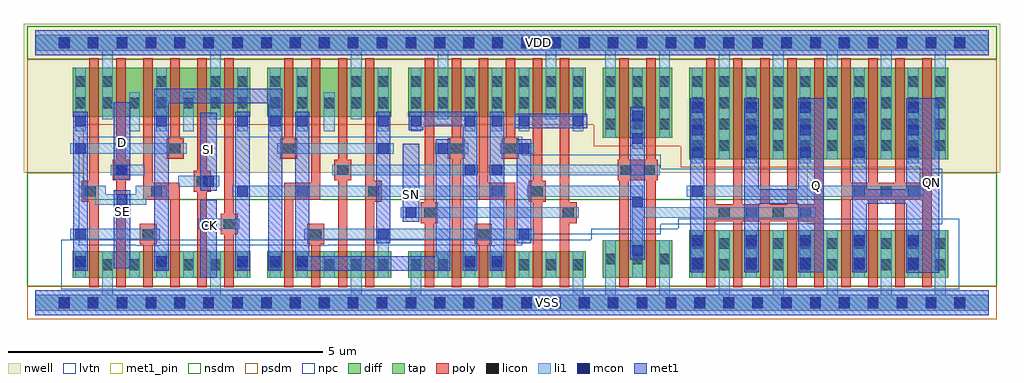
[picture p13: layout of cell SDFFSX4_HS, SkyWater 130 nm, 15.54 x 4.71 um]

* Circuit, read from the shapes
.subckt SDFFSX4_HS CK D Q QN SE SI SN VDD VSS
XM1 VSS SE n1 VSS sky130_fd_pr__nfet_01v8_lvt w=0.425 l=0.15
XM2 n2 D VSS VSS sky130_fd_pr__nfet_01v8_lvt w=0.425 l=0.15
XM3 n3 n1 n2 VSS sky130_fd_pr__nfet_01v8_lvt w=0.425 l=0.15
XM4 n4 SE n3 VSS sky130_fd_pr__nfet_01v8_lvt w=0.425 l=0.15
XM5 VSS SI n4 VSS sky130_fd_pr__nfet_01v8_lvt w=0.425 l=0.15
XM6 n5 CK VSS VSS sky130_fd_pr__nfet_01v8_lvt w=0.425 l=0.15
XM7 n6 n5 n3 VSS sky130_fd_pr__nfet_01v8_lvt w=0.425 l=0.15
XM8 n7 n8 n6 VSS sky130_fd_pr__nfet_01v8_lvt w=0.425 l=0.15
XM9 VSS n9 n7 VSS sky130_fd_pr__nfet_01v8_lvt w=0.425 l=0.15
XM10 n8 n5 VSS VSS sky130_fd_pr__nfet_01v8_lvt w=0.425 l=0.15
XM11 n10 SN VSS VSS sky130_fd_pr__nfet_01v8_lvt w=0.425 l=0.15
XM12 n9 n6 n10 VSS sky130_fd_pr__nfet_01v8_lvt w=0.425 l=0.15
XM13 n11 n8 n9 VSS sky130_fd_pr__nfet_01v8_lvt w=0.425 l=0.15
XM14 n12 n5 n11 VSS sky130_fd_pr__nfet_01v8_lvt w=0.425 l=0.15
XM15 n13 n14 n12 VSS sky130_fd_pr__nfet_01v8_lvt w=0.425 l=0.15
XM16 VSS SN n13 VSS sky130_fd_pr__nfet_01v8_lvt w=0.425 l=0.15
XM17 n14 n11 VSS VSS sky130_fd_pr__nfet_01v8_lvt w=0.6 l=0.15 m=2
XM18 VSS n14 n15 VSS sky130_fd_pr__nfet_01v8_lvt w=0.76 l=0.15
XM19 Q n14 VSS VSS sky130_fd_pr__nfet_01v8_lvt w=0.76 l=0.15 m=4
XM20 QN n15 VSS VSS sky130_fd_pr__nfet_01v8_lvt w=0.76 l=0.15 m=4
XM21 VDD SE n1 VDD sky130_fd_pr__pfet_01v8 w=0.78 l=0.15
XM22 n16 D VDD VDD sky130_fd_pr__pfet_01v8 w=0.78 l=0.15
XM23 n3 SE n16 VDD sky130_fd_pr__pfet_01v8 w=0.78 l=0.15
XM24 n17 n1 n3 VDD sky130_fd_pr__pfet_01v8 w=0.78 l=0.15
XM25 VDD SI n17 VDD sky130_fd_pr__pfet_01v8 w=0.78 l=0.15
XM26 n5 CK VDD VDD sky130_fd_pr__pfet_01v8 w=0.78 l=0.15
XM27 n6 n8 n3 VDD sky130_fd_pr__pfet_01v8 w=0.78 l=0.15
XM28 n18 n5 n6 VDD sky130_fd_pr__pfet_01v8 w=0.78 l=0.15
XM29 VDD n9 n18 VDD sky130_fd_pr__pfet_01v8 w=0.78 l=0.15
XM30 n8 n5 VDD VDD sky130_fd_pr__pfet_01v8 w=0.78 l=0.15
XM31 VDD SN n9 VDD sky130_fd_pr__pfet_01v8 w=0.78 l=0.15
XM32 n9 n6 VDD VDD sky130_fd_pr__pfet_01v8 w=0.78 l=0.15
XM33 n11 n5 n9 VDD sky130_fd_pr__pfet_01v8 w=0.78 l=0.15
XM34 n19 n8 n11 VDD sky130_fd_pr__pfet_01v8 w=0.78 l=0.15
XM35 VDD n14 n19 VDD sky130_fd_pr__pfet_01v8 w=0.78 l=0.15
XM36 n19 SN VDD VDD sky130_fd_pr__pfet_01v8 w=0.78 l=0.15
XM37 n14 n11 VDD VDD sky130_fd_pr__pfet_01v8 w=1.12 l=0.15 m=2
XM38 VDD n14 n15 VDD sky130_fd_pr__pfet_01v8 w=1.46 l=0.15
XM39 Q n14 VDD VDD sky130_fd_pr__pfet_01v8 w=1.46 l=0.15 m=4
XM40 QN n15 VDD VDD sky130_fd_pr__pfet_01v8 w=1.46 l=0.15 m=4
.ends

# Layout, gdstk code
from math import pi, radians
import gdstk
lib = gdstk.Library(unit=1e-6, precision=1e-09)
def R(c, l, rs):  # rectangles x0, y0, x1, y1
    for r in rs: c.add(gdstk.rectangle(r[:2], r[2:], *l))
def A(c, l, x, y, w, h, nx, ny, dx, dy):  # array of equal rectangles
    R(c, l, [(x+i*dx, y+j*dy, x+i*dx+w, y+j*dy+h) for i in range(nx) for j in range(ny)])
def P(c, l, *ps):  # polygons
    for p in ps: c.add(gdstk.Polygon(p, *l))
nwell = (64, 20)
diff = (65, 20)
tap = (65, 44)
poly = (66, 20)
licon = (66, 44)
li1 = (67, 20)
mcon = (67, 44)
met1_pin = (68, 16)
met1 = (68, 20)
nsdm = (93, 44)
psdm = (94, 20)
npc = (95, 20)
lvtn = (125, 44)

pyl1con_c_cdns_758729172 = lib.new_cell('PYL1CON_C_CDNS_758729172862')
R(pyl1con_c_cdns_758729172, poly, [(-0.135,-0.165,0.135,0.165)])
R(pyl1con_c_cdns_758729172, licon, [(-0.085,-0.085,0.085,0.085)])
R(pyl1con_c_cdns_758729172, npc, [(-0.185,-0.185,0.185,0.185)])

l1m1_c_cdns_758729172861 = lib.new_cell('L1M1_C_CDNS_7587291728613')
R(l1m1_c_cdns_758729172861, li1, [(-0.085,-0.525,0.085,0.525)])
A(l1m1_c_cdns_758729172861, mcon, -0.085, -0.445, 0.17, 0.17, 1, 3, 0, 0.36)
R(l1m1_c_cdns_758729172861, met1, [(-0.115,-0.505,0.115,0.505)])

c_l1m1_c_cdns_758729172861 = lib.new_cell('L1M1_C_CDNS_758729172861')
R(c_l1m1_c_cdns_758729172861, li1, [(-0.085,-0.165,0.085,0.165)])
R(c_l1m1_c_cdns_758729172861, mcon, [(-0.085,-0.085,0.085,0.085)])
R(c_l1m1_c_cdns_758729172861, met1, [(-0.115,-0.145,0.115,0.145)])

l1m1_c_cdns_758729172864 = lib.new_cell('L1M1_C_CDNS_758729172864')
R(l1m1_c_cdns_758729172864, li1, [(-0.085,-0.345,0.085,0.345)])
R(l1m1_c_cdns_758729172864, mcon, [(-0.085,-0.265,0.085,-0.095), (-0.085,0.095,0.085,0.265)])
R(l1m1_c_cdns_758729172864, met1, [(-0.115,-0.325,0.115,0.325)])

l1m1_c_cdns_758729172860 = lib.new_cell('L1M1_C_CDNS_758729172860')
R(l1m1_c_cdns_758729172860, li1, [(-0.165,-0.085,0.165,0.085)])
R(l1m1_c_cdns_758729172860, mcon, [(-0.085,-0.085,0.085,0.085)])
R(l1m1_c_cdns_758729172860, met1, [(-0.115,-0.145,0.115,0.145)])

l1m1_c_cdns_758729172862 = lib.new_cell('L1M1_C_CDNS_7587291728623')
R(l1m1_c_cdns_758729172862, li1, [(-0.085,-0.165,0.085,0.165)])
R(l1m1_c_cdns_758729172862, mcon, [(-0.085,-0.085,0.085,0.085)])
R(l1m1_c_cdns_758729172862, met1, [(-0.145,-0.085,0.145,0.085)])

licondiff_c_cdns_7587291 = lib.new_cell('LICONDIFF_C_CDNS_7587291728611')
R(licondiff_c_cdns_7587291, diff, [(-0.125,-0.145,0.125,0.145)])
R(licondiff_c_cdns_7587291, licon, [(-0.085,-0.085,0.085,0.085), (-0.085,-0.085,0.085,0.085)])

c_pyl1con_c_cdns_758729172 = lib.new_cell('PYL1CON_C_CDNS_7587291728618')
R(c_pyl1con_c_cdns_758729172, poly, [(-0.135,-0.29,0.135,0.29)])
R(c_pyl1con_c_cdns_758729172, licon, [(-0.085,-0.085,0.085,0.085)])
R(c_pyl1con_c_cdns_758729172, npc, [(-0.185,-0.185,0.185,0.185)])

c_l1m1_c_cdns_758729172862 = lib.new_cell('L1M1_C_CDNS_7587291728621')
R(c_l1m1_c_cdns_758729172862, li1, [(-0.125,-0.085,0.125,0.085)])
R(c_l1m1_c_cdns_758729172862, mcon, [(-0.085,-0.085,0.085,0.085)])
R(c_l1m1_c_cdns_758729172862, met1, [(-0.115,-0.145,0.115,0.145)])

c_pyl1con_c_cdns_758729172_ = lib.new_cell('PYL1CON_C_CDNS_7587291728622')
R(c_pyl1con_c_cdns_758729172_, poly, [(-0.135,-0.37,0.135,0.21)])
R(c_pyl1con_c_cdns_758729172_, licon, [(-0.085,-0.085,0.085,0.085)])
R(c_pyl1con_c_cdns_758729172_, npc, [(-0.185,-0.185,0.185,0.185)])

sdffsx4_hs = lib.new_cell('SDFFSX4_HS')
R(sdffsx4_hs, nwell, [(-0.18,2.07,15.36,4.445)])
R(sdffsx4_hs, diff, [(0.595,0.395,3.425,0.82), (3.695,0.395,5.665,0.82), (5.935,0.395,8.765,0.82), (9.035,0.395,10.145,0.995), (10.415,0.395,14.535,1.155), (10.415,2.285,14.535,3.745), (9.035,2.625,10.145,3.745), (0.595,2.965,3.425,3.745), (3.695,2.965,5.665,3.745), (5.935,2.965,8.765,3.745)])
A(sdffsx4_hs, poly, 1.72, 0.245, 0.15, 0.725, 3, 1, 2.67, 0)
A(sdffsx4_hs, poly, 10.68, 0.245, 0.15, 3.65, 9, 1, 0.43, 0)
R(sdffsx4_hs, poly, [(0.86,0.245,1.01,3.895), (1.29,0.245,1.44,3.895), (2.58,0.245,2.73,3.895), (3.01,0.245,3.16,3.895), (4.82,0.245,4.97,3.895), (5.25,0.245,5.4,3.895), (6.2,0.245,6.35,3.895), (6.63,0.245,6.78,3.895), (7.92,0.245,8.07,3.895), (8.35,0.245,8.5,3.895), (2.15,2.455,2.3,3.895), (3.96,2.455,4.11,3.895), (7.49,2.455,7.64,3.895)])
P(sdffsx4_hs, poly, [(2.3,1.85),(1.87,1.85),(1.87,3.895),(1.72,3.895),(1.72,1.7),(2.15,1.7),(2.15,0.245),(2.3,0.245)],
  [(4.54,3.895),(4.39,3.895),(4.39,1.85),(3.96,1.85),(3.96,0.245),(4.11,0.245),(4.11,1.7),(4.54,1.7)],
  [(7.64,1.85),(7.21,1.85),(7.21,3.895),(7.06,3.895),(7.06,1.7),(7.49,1.7),(7.49,0.245),(7.64,0.245)],
  [(9.91,2.28),(9.88,2.28),(9.88,3.895),(9.73,3.895),(9.73,2.28),(9.45,2.28),(9.45,3.895),(9.3,3.895),(9.3,2.28),(9.27,2.28),(9.27,1.95),(9.3,1.95),(9.3,0.245),(9.45,0.245),(9.45,1.95),(9.73,1.95),(9.73,0.245),(9.88,0.245),(9.88,1.95),(9.91,1.95)])
A(sdffsx4_hs, licon, 0.375, -0.085, 0.17, 0.17, 32, 2, 0.46, 4.14)
A(sdffsx4_hs, licon, 1.065, 0.52, 0.17, 0.17, 3, 2, 0.86, 2.58)
A(sdffsx4_hs, licon, 10.455, 0.52, 0.17, 0.17, 10, 2, 0.43, 0.34)
A(sdffsx4_hs, licon, 9.075, 0.61, 0.17, 0.17, 3, 2, 0.43, 2.15)
A(sdffsx4_hs, licon, 10.455, 2.42, 0.17, 0.17, 10, 4, 0.43, 0.34)
A(sdffsx4_hs, licon, 5.975, 3.1, 0.17, 0.17, 7, 2, 0.43, 0.34)
A(sdffsx4_hs, licon, 9.075, 3.1, 0.17, 0.17, 3, 2, 0.43, 0.34)
A(sdffsx4_hs, licon, 1.065, 3.44, 0.17, 0.17, 3, 1, 0.86, 0)
R(sdffsx4_hs, licon, [(0.635,0.52,0.805,0.69), (3.215,0.52,3.385,0.69), (3.735,0.52,3.905,0.69), (4.165,0.52,4.335,0.69), (5.025,0.52,5.195,0.69), (5.455,0.52,5.625,0.69), (5.975,0.52,6.145,0.69), (6.835,0.52,7.005,0.69), (7.265,0.52,7.435,0.69), (8.555,0.52,8.725,0.69), (0.635,3.1,0.805,3.27), (3.215,3.1,3.385,3.27), (3.735,3.1,3.905,3.27), (4.165,3.1,4.335,3.27), (5.025,3.1,5.195,3.27), (5.455,3.1,5.625,3.27), (0.635,3.44,0.805,3.61), (3.215,3.44,3.385,3.61), (3.735,3.44,3.905,3.61), (4.165,3.44,4.335,3.61), (5.025,3.44,5.195,3.61), (5.455,3.44,5.625,3.61)])
A(sdffsx4_hs, li1, 0.635, 0.395, 0.17, 0.425, 3, 1, 1.29, 0)
A(sdffsx4_hs, li1, 10.455, 0.395, 0.17, 0.76, 5, 1, 0.86, 0)
A(sdffsx4_hs, li1, 10.455, 2.285, 0.17, 1.46, 5, 1, 0.86, 0)
A(sdffsx4_hs, li1, 0.635, 2.965, 0.17, 0.78, 3, 1, 1.29, 0)
A(sdffsx4_hs, li1, 6.835, 2.965, 0.17, 0.78, 3, 1, 0.43, 0)
R(sdffsx4_hs, li1, [(3.735,0.395,3.905,0.82), (4.165,0.395,4.335,0.82), (6.835,0.395,7.005,0.82), (7.265,0.395,7.435,0.82), (9.505,2.625,9.675,3.745), (3.735,2.965,3.905,3.745), (4.165,2.965,4.335,3.745), (5.455,2.965,5.625,3.745), (5.975,2.965,6.145,3.745), (8.555,2.965,8.725,3.745)])
P(sdffsx4_hs, li1, [(2.095,1.86),(1.6,1.86),(1.6,1.73),(1.12,1.73),(1.12,1.86),(0.69,1.86),(0.69,1.69),(0.95,1.69),(0.95,1.56),(1.77,1.56),(1.77,1.69),(2.095,1.69)],
  [(7.945,1.18),(4.28,1.18),(4.28,1.01),(5.455,1.01),(5.455,0.395),(5.625,0.395),(5.625,1.01),(7.945,1.01)],
  [(12.425,1.52),(9.675,1.52),(9.675,1.86),(7.83,1.86),(7.83,1.69),(9.505,1.69),(9.505,0.395),(9.675,0.395),(9.675,1.35),(12.425,1.35)],
  [(15.18,4.265),(0,4.265),(0,4.015),(1.065,4.015),(1.065,2.925),(1.235,2.925),(1.235,4.015),(2.785,4.015),(2.785,2.925),(2.955,2.925),(2.955,4.015),(5.025,4.015),(5.025,2.925),(5.195,2.925),(5.195,4.015),(6.405,4.015),(6.405,2.925),(6.575,2.925),(6.575,4.015),(8.125,4.015),(8.125,2.925),(8.295,2.925),(8.295,4.015),(9.075,4.015),(9.075,2.625),(9.245,2.625),(9.245,4.015),(9.935,4.015),(9.935,2.625),(10.105,2.625),(10.105,4.015),(10.885,4.015),(10.885,2.285),(11.055,2.285),(11.055,4.015),(11.745,4.015),(11.745,2.285),(11.915,2.285),(11.915,4.015),(12.605,4.015),(12.605,2.285),(12.775,2.285),(12.775,4.015),(13.465,4.015),(13.465,2.285),(13.635,2.285),(13.635,4.015),(14.325,4.015),(14.325,2.285),(14.495,2.285),(14.495,4.015),(15.18,4.015)],
  [(15.18,0.125),(14.495,0.125),(14.495,1.155),(14.325,1.155),(14.325,0.125),(13.635,0.125),(13.635,1.155),(13.465,1.155),(13.465,0.125),(12.775,0.125),(12.775,1.155),(12.605,1.155),(12.605,0.125),(11.915,0.125),(11.915,1.155),(11.745,1.155),(11.745,0.125),(11.055,0.125),(11.055,1.155),(10.885,1.155),(10.885,0.125),(10.105,0.125),(10.105,0.995),(9.935,0.995),(9.935,0.125),(9.245,0.125),(9.245,0.995),(9.075,0.995),(9.075,0.125),(8.725,0.125),(8.725,0.82),(8.555,0.82),(8.555,0.125),(6.145,0.125),(6.145,0.82),(5.975,0.82),(5.975,0.125),(5.195,0.125),(5.195,0.82),(5.025,0.82),(5.025,0.125),(2.955,0.125),(2.955,0.82),(2.785,0.82),(2.785,0.125),(1.235,0.125),(1.235,0.82),(1.065,0.82),(1.065,0.125),(0,0.125),(0,-0.125),(15.18,-0.125)])
A(sdffsx4_hs, mcon, 0.375, -0.085, 0.17, 0.17, 32, 2, 0.46, 4.14)
R(sdffsx4_hs, met1_pin, [(2.63,0.4,2.89,1.64), (1.25,0.55,1.51,1.79), (12.29,1.27,12.55,2.51), (5.85,1.29,6.11,2.53), (14.13,1.32,14.39,2.56), (2.63,1.785,2.89,3.025), (1.25,1.955,1.51,3.195)])
P(sdffsx4_hs, met1, [(12.55,3.255),(12.145,3.255),(12.145,1.805),(11.515,1.805),(11.515,3.255),(11.285,3.255),(11.285,0.485),(11.515,0.485),(11.515,1.575),(12.145,1.575),(12.145,0.485),(12.55,0.485)],
  [(14.39,3.255),(13.865,3.255),(13.865,1.805),(13.235,1.805),(13.235,3.255),(13.005,3.255),(13.005,0.485),(13.235,0.485),(13.235,1.575),(13.865,1.575),(13.865,0.48),(14.39,0.48)])
R(sdffsx4_hs, nsdm, [(-0.125,3.875,15.305,4.405)])
P(sdffsx4_hs, nsdm, [(15.305,2.07),(14.085,2.07),(14.085,1.65),(0.77,1.65),(0.77,2.07),(-0.125,2.07),(-0.125,0.265),(15.305,0.265)])
R(sdffsx4_hs, psdm, [(-0.125,-0.265,15.305,0.265)])
P(sdffsx4_hs, psdm, [(15.305,3.875),(-0.125,3.875),(-0.125,2.07),(0.77,2.07),(0.77,2.835),(8.895,2.835),(8.895,2.495),(10.275,2.495),(10.275,2.155),(14.085,2.155),(14.085,2.07),(15.305,2.07)])
P(sdffsx4_hs, npc, [(14.44,2.13),(9.96,2.13),(9.96,2.355),(7.75,2.355),(7.75,2.64),(0.69,2.64),(0.69,0.915),(7.75,0.915),(7.75,1.09),(9.96,1.09),(9.96,1.25),(14.44,1.25)])
P(sdffsx4_hs, lvtn, [(14.715,1.335),(10.235,1.335),(10.235,1.175),(8.855,1.175),(8.855,1),(0.415,1),(0.415,0.215),(14.715,0.215)])
sdffsx4_hs.add(gdstk.FlexPath([(6.365,2.455),(6.89,2.455)], 0.17, ends="flush", simple_path=True, layer=67, datatype=20))  # li1
sdffsx4_hs.add(gdstk.FlexPath([(3.85,2.455),(5.705,2.455)], 0.17, ends="flush", simple_path=True, layer=67, datatype=20))  # li1
sdffsx4_hs.add(gdstk.FlexPath([(7.4,2.455),(7.945,2.455)], 0.17, ends="flush", simple_path=True, layer=67, datatype=20))  # li1
sdffsx4_hs.add(gdstk.FlexPath([(0.555,1.095),(1.98,1.095)], 0.17, ends="flush", simple_path=True, layer=67, datatype=20))  # li1
sdffsx4_hs.add(gdstk.FlexPath([(4.68,2.73),(4.68,3.355)], 0.17, ends="flush", simple_path=True, layer=67, datatype=20))  # li1
sdffsx4_hs.add(gdstk.FlexPath([(4.68,0.395),(4.68,0.82)], 0.17, ends="flush", simple_path=True, layer=67, datatype=20))  # li1
sdffsx4_hs.add(gdstk.FlexPath([(8.21,0.395),(8.21,0.82)], 0.17, ends="flush", simple_path=True, layer=67, datatype=20))  # li1
sdffsx4_hs.add(gdstk.FlexPath([(7.78,0.395),(7.78,0.82)], 0.17, ends="flush", simple_path=True, layer=67, datatype=20))  # li1
sdffsx4_hs.add(gdstk.FlexPath([(2.82,1.935),(2.275,1.935)], 0.17, ends="flush", simple_path=True, layer=67, datatype=20))  # li1
sdffsx4_hs.add(gdstk.FlexPath([(3.25,1.255),(2.705,1.255)], 0.17, ends="flush", simple_path=True, layer=67, datatype=20))  # li1
sdffsx4_hs.add(gdstk.FlexPath([(3.135,1.775),(7.515,1.775)], 0.17, ends="flush", simple_path=True, layer=67, datatype=20))  # li1
sdffsx4_hs.add(gdstk.FlexPath([(6.49,0.395),(6.49,0.82)], 0.17, ends="flush", simple_path=True, layer=67, datatype=20))  # li1
sdffsx4_hs.add(gdstk.FlexPath([(7.225,2.115),(9.94,2.115)], 0.17, ends="flush", simple_path=True, layer=67, datatype=20))  # li1
sdffsx4_hs.add(gdstk.FlexPath([(0.555,2.455),(2.41,2.455)], 0.17, ends="flush", simple_path=True, layer=67, datatype=20))  # li1
sdffsx4_hs.add(gdstk.FlexPath([(1.58,2.73),(1.58,3.355)], 0.17, ends="flush", simple_path=True, layer=67, datatype=20))  # li1
sdffsx4_hs.add(gdstk.FlexPath([(2.44,2.73),(2.44,3.355)], 0.17, ends="flush", simple_path=True, layer=67, datatype=20))  # li1
sdffsx4_hs.add(gdstk.FlexPath([(5.895,1.435),(8.65,1.435)], 0.17, ends="flush", simple_path=True, layer=67, datatype=20))  # li1
sdffsx4_hs.add(gdstk.FlexPath([(10.54,1.775),(14.145,1.775)], 0.17, ends="flush", simple_path=True, layer=67, datatype=20))  # li1
sdffsx4_hs.add(gdstk.FlexPath([(1.58,0.395),(1.58,0.82)], 0.17, ends="flush", simple_path=True, layer=67, datatype=20))  # li1
sdffsx4_hs.add(gdstk.FlexPath([(2.44,0.395),(2.44,0.82)], 0.17, ends="flush", simple_path=True, layer=67, datatype=20))  # li1
sdffsx4_hs.add(gdstk.FlexPath([(1.745,2.115),(1.2,2.115)], 0.17, ends="flush", simple_path=True, layer=67, datatype=20))  # li1
sdffsx4_hs.add(gdstk.FlexPath([(7.045,2.115),(4.73,2.115)], 0.17, ends="flush", simple_path=True, layer=67, datatype=20))  # li1
sdffsx4_hs.add(gdstk.FlexPath([(0,4.14),(15.18,4.14)], 0.4, ends="flush", simple_path=True, layer=68, datatype=20))  # met1
sdffsx4_hs.add(gdstk.FlexPath([(0,0),(15.18,0)], 0.4, ends="flush", simple_path=True, layer=68, datatype=20))  # met1
sdffsx4_hs.add(gdstk.FlexPath([(7.78,0.95),(7.78,2.6)], 0.23, ends="flush", simple_path=True, layer=68, datatype=20))  # met1
sdffsx4_hs.add(gdstk.FlexPath([(2.01,0.51),(2.01,3.295),(3.82,3.295),(3.82,0.51)], 0.23, ends="flush", simple_path=True, layer=68, datatype=20))  # met1
sdffsx4_hs.add(gdstk.FlexPath([(6.49,2.6),(6.49,0.625),(4.25,0.625),(4.25,3.04)], 0.23, ends="flush", simple_path=True, layer=68, datatype=20))  # met1
sdffsx4_hs.add(gdstk.FlexPath([(0.72,0.51),(0.72,3.04)], 0.23, ends="flush", simple_path=True, layer=68, datatype=20))  # met1
sdffsx4_hs.add(gdstk.FlexPath([(5.54,0.95),(5.54,3.04)], 0.23, ends="flush", simple_path=True, layer=68, datatype=20))  # met1
sdffsx4_hs.add(gdstk.FlexPath([(3.3,0.51),(3.3,3.04)], 0.23, ends="flush", simple_path=True, layer=68, datatype=20))  # met1
sdffsx4_hs.add(gdstk.FlexPath([(5.98,1.29),(5.98,2.53)], 0.26, ends="flush", simple_path=True, layer=68, datatype=20))  # met1
sdffsx4_hs.add(gdstk.FlexPath([(2.76,0.4),(2.76,1.64)], 0.26, ends="flush", simple_path=True, layer=68, datatype=20))  # met1
sdffsx4_hs.add(gdstk.FlexPath([(2.76,1.785),(2.76,3.025)], 0.26, ends="flush", simple_path=True, layer=68, datatype=20))  # met1
sdffsx4_hs.add(gdstk.FlexPath([(1.38,1.955),(1.38,3.195)], 0.26, ends="flush", simple_path=True, layer=68, datatype=20))  # met1
sdffsx4_hs.add(gdstk.FlexPath([(10.54,0.485),(10.54,3.255)], 0.23, ends="flush", simple_path=True, layer=68, datatype=20))  # met1
sdffsx4_hs.add(gdstk.FlexPath([(5.945,2.925),(6.92,2.925),(6.92,0.51)], 0.23, ends="flush", simple_path=True, layer=68, datatype=20))  # met1
sdffsx4_hs.add(gdstk.FlexPath([(9.59,0.685),(9.59,3.12)], 0.23, ends="flush", simple_path=True, layer=68, datatype=20))  # met1
sdffsx4_hs.add(gdstk.FlexPath([(7.635,2.895),(8.785,2.895)], 0.23, ends="flush", simple_path=True, layer=68, datatype=20))  # met1
sdffsx4_hs.add(gdstk.FlexPath([(1.38,0.55),(1.38,1.79)], 0.26, ends="flush", simple_path=True, layer=68, datatype=20))  # met1
sdffsx4_hs.add(gdstk.FlexPath([(7.35,0.51),(7.35,3.04)], 0.23, ends="flush", simple_path=True, layer=68, datatype=20))  # met1
sdffsx4_hs.add(gdstk.FlexPath([(0,4.14),(15.18,4.14)], 0.4, ends="flush", simple_path=True, layer=68, datatype=16))  # met1_pin
sdffsx4_hs.add(gdstk.FlexPath([(0,0),(15.18,0)], 0.4, ends="flush", simple_path=True, layer=68, datatype=16))  # met1_pin
sdffsx4_hs.add(gdstk.FlexPath([(0,4.14),(15.18,4.14)], 0.25, ends="flush", simple_path=True, layer=65, datatype=44))  # tap
sdffsx4_hs.add(gdstk.FlexPath([(0,0),(15.18,0)], 0.25, ends="flush", simple_path=True, layer=65, datatype=44))  # tap
sdffsx4_hs.add(gdstk.Reference(pyl1con_c_cdns_758729172, (6.705,2.455), rotation=pi))
sdffsx4_hs.add(gdstk.Reference(pyl1con_c_cdns_758729172, (4.895,2.115)))
sdffsx4_hs.add(gdstk.Reference(pyl1con_c_cdns_758729172, (6.275,1.435)))
sdffsx4_hs.add(gdstk.Reference(pyl1con_c_cdns_758729172, (5.385,1.775), rotation=pi))
sdffsx4_hs.add(gdstk.Reference(pyl1con_c_cdns_758729172, (3.085,1.255), x_reflection=True))
sdffsx4_hs.add(gdstk.Reference(pyl1con_c_cdns_758729172, (2.655,1.935), x_reflection=True))
sdffsx4_hs.add(gdstk.Reference(pyl1con_c_cdns_758729172, (2.225,2.455), rotation=pi))
sdffsx4_hs.add(gdstk.Reference(pyl1con_c_cdns_758729172, (1.795,1.095), x_reflection=True))
sdffsx4_hs.add(gdstk.Reference(pyl1con_c_cdns_758729172, (4.465,1.095), rotation=pi))
sdffsx4_hs.add(gdstk.Reference(pyl1con_c_cdns_758729172, (4.035,2.455), x_reflection=True))
sdffsx4_hs.add(gdstk.Reference(pyl1con_c_cdns_758729172, (7.565,2.455), rotation=pi))
sdffsx4_hs.add(gdstk.Reference(pyl1con_c_cdns_758729172, (7.135,1.095), x_reflection=True))
sdffsx4_hs.add(gdstk.Reference(pyl1con_c_cdns_758729172, (13.12,1.775), rotation=3*pi/2, x_reflection=True))
sdffsx4_hs.add(gdstk.Reference(pyl1con_c_cdns_758729172, (13.55,1.775), rotation=3*pi/2, x_reflection=True))
sdffsx4_hs.add(gdstk.Reference(pyl1con_c_cdns_758729172, (12.26,1.435), rotation=3*pi/2, x_reflection=True))
sdffsx4_hs.add(gdstk.Reference(pyl1con_c_cdns_758729172, (11.83,1.435), rotation=3*pi/2, x_reflection=True))
sdffsx4_hs.add(gdstk.Reference(pyl1con_c_cdns_758729172, (11.4,1.435), rotation=3*pi/2, x_reflection=True))
sdffsx4_hs.add(gdstk.Reference(pyl1con_c_cdns_758729172, (8.485,1.435)))
sdffsx4_hs.add(gdstk.Reference(pyl1con_c_cdns_758729172, (7.995,1.775)))
sdffsx4_hs.add(gdstk.Reference(pyl1con_c_cdns_758729172, (13.98,1.775), rotation=3*pi/2, x_reflection=True))
sdffsx4_hs.add(gdstk.Reference(pyl1con_c_cdns_758729172, (0.875,1.775)))
sdffsx4_hs.add(gdstk.Reference(pyl1con_c_cdns_758729172, (9.775,2.115), rotation=pi, x_reflection=True))
sdffsx4_hs.add(gdstk.Reference(pyl1con_c_cdns_758729172, (9.405,2.115), rotation=pi, x_reflection=True))
sdffsx4_hs.add(gdstk.Reference(pyl1con_c_cdns_758729172, (1.365,2.115)))
sdffsx4_hs.add(gdstk.Reference(pyl1con_c_cdns_758729172, (10.97,1.435), rotation=3*pi/2, x_reflection=True))
sdffsx4_hs.add(gdstk.Reference(l1m1_c_cdns_758729172861, (13.12,2.75)))
sdffsx4_hs.add(gdstk.Reference(l1m1_c_cdns_758729172861, (13.98,2.75)))
sdffsx4_hs.add(gdstk.Reference(l1m1_c_cdns_758729172861, (10.54,2.75)))
sdffsx4_hs.add(gdstk.Reference(l1m1_c_cdns_758729172861, (12.26,2.75)))
sdffsx4_hs.add(gdstk.Reference(l1m1_c_cdns_758729172861, (11.4,2.75)))
sdffsx4_hs.add(gdstk.Reference(c_l1m1_c_cdns_758729172861, (3.82,2.895)))
sdffsx4_hs.add(gdstk.Reference(c_l1m1_c_cdns_758729172861, (3.82,0.655)))
sdffsx4_hs.add(gdstk.Reference(c_l1m1_c_cdns_758729172861, (2.01,2.895)))
sdffsx4_hs.add(gdstk.Reference(c_l1m1_c_cdns_758729172861, (2.01,0.655)))
sdffsx4_hs.add(gdstk.Reference(c_l1m1_c_cdns_758729172861, (0.72,2.895)))
sdffsx4_hs.add(gdstk.Reference(c_l1m1_c_cdns_758729172861, (0.72,0.655)))
sdffsx4_hs.add(gdstk.Reference(c_l1m1_c_cdns_758729172861, (6.06,2.895)))
sdffsx4_hs.add(gdstk.Reference(c_l1m1_c_cdns_758729172861, (5.54,2.895), rotation=pi, x_reflection=True))
sdffsx4_hs.add(gdstk.Reference(c_l1m1_c_cdns_758729172861, (3.3,0.655)))
sdffsx4_hs.add(gdstk.Reference(c_l1m1_c_cdns_758729172861, (3.3,2.895)))
sdffsx4_hs.add(gdstk.Reference(c_l1m1_c_cdns_758729172861, (4.25,2.895)))
sdffsx4_hs.add(gdstk.Reference(c_l1m1_c_cdns_758729172861, (4.25,0.655)))
sdffsx4_hs.add(gdstk.Reference(c_l1m1_c_cdns_758729172861, (6.92,0.655)))
sdffsx4_hs.add(gdstk.Reference(c_l1m1_c_cdns_758729172861, (6.92,2.895)))
sdffsx4_hs.add(gdstk.Reference(c_l1m1_c_cdns_758729172861, (9.59,1.605)))
sdffsx4_hs.add(gdstk.Reference(c_l1m1_c_cdns_758729172861, (7.35,2.895)))
sdffsx4_hs.add(gdstk.Reference(c_l1m1_c_cdns_758729172861, (7.35,0.655)))
sdffsx4_hs.add(gdstk.Reference(c_l1m1_c_cdns_758729172861, (9.59,0.83), rotation=pi, x_reflection=True))
sdffsx4_hs.add(gdstk.Reference(l1m1_c_cdns_758729172864, (9.59,2.795), rotation=pi, x_reflection=True))
sdffsx4_hs.add(gdstk.Reference(l1m1_c_cdns_758729172864, (13.12,0.81)))
sdffsx4_hs.add(gdstk.Reference(l1m1_c_cdns_758729172864, (13.98,0.81)))
sdffsx4_hs.add(gdstk.Reference(l1m1_c_cdns_758729172864, (12.26,0.81)))
sdffsx4_hs.add(gdstk.Reference(l1m1_c_cdns_758729172864, (11.4,0.81)))
sdffsx4_hs.add(gdstk.Reference(l1m1_c_cdns_758729172864, (10.54,0.81)))
sdffsx4_hs.add(gdstk.Reference(l1m1_c_cdns_758729172860, (7.78,2.455)))
sdffsx4_hs.add(gdstk.Reference(l1m1_c_cdns_758729172860, (7.78,1.095)))
sdffsx4_hs.add(gdstk.Reference(l1m1_c_cdns_758729172860, (2.76,1.255), x_reflection=True))
sdffsx4_hs.add(gdstk.Reference(l1m1_c_cdns_758729172860, (2.76,1.935), x_reflection=True))
sdffsx4_hs.add(gdstk.Reference(l1m1_c_cdns_758729172860, (3.3,1.775)))
sdffsx4_hs.add(gdstk.Reference(l1m1_c_cdns_758729172860, (5.54,2.455), rotation=pi, x_reflection=True))
sdffsx4_hs.add(gdstk.Reference(l1m1_c_cdns_758729172860, (5.54,1.095), rotation=pi, x_reflection=True))
sdffsx4_hs.add(gdstk.Reference(l1m1_c_cdns_758729172860, (5.98,1.435), x_reflection=True))
sdffsx4_hs.add(gdstk.Reference(l1m1_c_cdns_758729172860, (1.38,2.115), x_reflection=True))
sdffsx4_hs.add(gdstk.Reference(l1m1_c_cdns_758729172860, (10.54,1.775)))
sdffsx4_hs.add(gdstk.Reference(l1m1_c_cdns_758729172860, (0.72,1.095)))
sdffsx4_hs.add(gdstk.Reference(l1m1_c_cdns_758729172860, (0.72,2.455)))
sdffsx4_hs.add(gdstk.Reference(l1m1_c_cdns_758729172860, (1.38,1.645), x_reflection=True))
sdffsx4_hs.add(gdstk.Reference(l1m1_c_cdns_758729172862, (7.78,2.895)))
sdffsx4_hs.add(gdstk.Reference(l1m1_c_cdns_758729172862, (8.64,2.895)))
sdffsx4_hs.add(gdstk.Reference(licondiff_c_cdns_7587291, (4.68,3.18)))
sdffsx4_hs.add(gdstk.Reference(licondiff_c_cdns_7587291, (4.68,0.605)))
sdffsx4_hs.add(gdstk.Reference(licondiff_c_cdns_7587291, (8.21,0.605)))
sdffsx4_hs.add(gdstk.Reference(licondiff_c_cdns_7587291, (7.78,0.605)))
sdffsx4_hs.add(gdstk.Reference(licondiff_c_cdns_7587291, (6.49,0.605), rotation=pi, x_reflection=True))
sdffsx4_hs.add(gdstk.Reference(licondiff_c_cdns_7587291, (2.44,0.605)))
sdffsx4_hs.add(gdstk.Reference(licondiff_c_cdns_7587291, (1.58,0.605)))
sdffsx4_hs.add(gdstk.Reference(licondiff_c_cdns_7587291, (2.44,3.18)))
sdffsx4_hs.add(gdstk.Reference(licondiff_c_cdns_7587291, (1.58,3.18)))
sdffsx4_hs.add(gdstk.Reference(c_pyl1con_c_cdns_758729172, (4.25,1.775), rotation=pi/2, x_reflection=True))
sdffsx4_hs.add(gdstk.Reference(c_pyl1con_c_cdns_758729172, (7.35,1.775), rotation=pi/2))
sdffsx4_hs.add(gdstk.Reference(c_l1m1_c_cdns_758729172862, (6.49,2.455)))
sdffsx4_hs.add(gdstk.Reference(c_l1m1_c_cdns_758729172862, (6.92,2.115), rotation=pi, x_reflection=True))
sdffsx4_hs.add(gdstk.Reference(c_l1m1_c_cdns_758729172862, (7.35,2.115), rotation=pi, x_reflection=True))
sdffsx4_hs.add(gdstk.Reference(c_pyl1con_c_cdns_758729172_, (1.93,1.775), rotation=pi/2))
sdffsx4_hs.add(gdstk.Label('Q', (12.435,1.865), layer=68, texttype=5))
sdffsx4_hs.add(gdstk.Label('CK', (2.775,1.23), layer=68, texttype=5))
sdffsx4_hs.add(gdstk.Label('SI', (2.755,2.435), layer=68, texttype=5))
sdffsx4_hs.add(gdstk.Label('D', (1.395,2.55), layer=68, texttype=5))
sdffsx4_hs.add(gdstk.Label('SN', (5.995,1.73), layer=68, texttype=5))
sdffsx4_hs.add(gdstk.Label('QN', (14.275,1.915), layer=68, texttype=5))
sdffsx4_hs.add(gdstk.Label('SE', (1.395,1.455), layer=68, texttype=5))
sdffsx4_hs.add(gdstk.Label('VDD', (8.005,4.145), layer=68, texttype=5))
sdffsx4_hs.add(gdstk.Label('VSS', (8.15,0.005), layer=68, texttype=5))

lib.write_gds('SDFFSX4_HS.gds')
